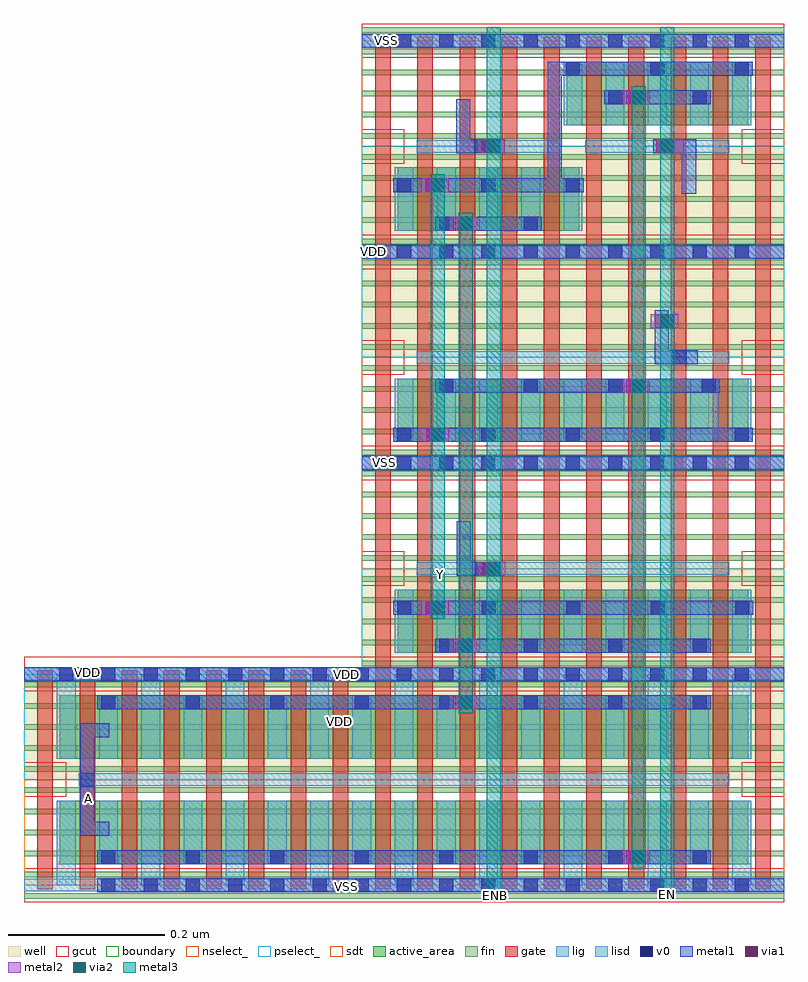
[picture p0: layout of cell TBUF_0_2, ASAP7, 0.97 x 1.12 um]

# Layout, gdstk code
import gdstk
lib = gdstk.Library(unit=1e-6, precision=2.5e-10)
def R(c, l, rs):  # rectangles x0, y0, x1, y1
    for r in rs: c.add(gdstk.rectangle(r[:2], r[2:], *l))
def A(c, l, x, y, w, h, nx, ny, dx, dy):  # array of equal rectangles
    R(c, l, [(x+i*dx, y+j*dy, x+i*dx+w, y+j*dy+h) for i in range(nx) for j in range(ny)])
well = (1, 0)
fin = (2, 0)
gate = (7, 0)
gcut = (10, 0)
active_area = (11, 0)
nselect_ = (12, 0)
pselect_ = (13, 0)
lig = (16, 0)
lisd = (17, 0)
v0 = (18, 0)
metal1 = (19, 0)
metal2 = (20, 0)
via1 = (21, 0)
via2 = (25, 0)
metal3 = (30, 0)
sdt = (88, 0)
boundary = (100, 0)

tbuf_0_2 = lib.new_cell('TBUF_0_2')
R(tbuf_0_2, well, [(0,0.157,0.972,0.292), (0.432,0.292,0.972,0.427), (0.432,0.697,0.972,0.832), (0.432,0.832,0.972,0.967)])
A(tbuf_0_2, fin, 0, 0.005, 0.972, 0.007, 1, 11, 0, 0.027)
A(tbuf_0_2, fin, 0.432, 0.302, 0.54, 0.007, 1, 31, 0, 0.027)
A(tbuf_0_2, gate, 0.017, 0.017, 0.02, 0.28, 18, 1, 0.054, 0)
A(tbuf_0_2, gate, 0.449, 0.287, 0.02, 0.28, 10, 3, 0.054, 0.27)
A(tbuf_0_2, gcut, 0.918, 0.135, 0.054, 0.044, 1, 4, 0, 0.27)
A(tbuf_0_2, gcut, 0.432, 0.405, 0.054, 0.044, 1, 3, 0, 0.27)
R(tbuf_0_2, gcut, [(0,0,0.972,0.044), (0,0.135,0.054,0.179), (0,0.27,0.972,0.314), (0.432,0.27,0.972,0.314), (0.432,0.54,0.972,0.584), (0.432,0.54,0.972,0.584), (0.432,0.81,0.972,0.854), (0.432,0.81,0.972,0.854), (0.432,1.08,0.972,1.124)])
R(tbuf_0_2, active_area, [(0.046,0.049,0.926,0.13), (0.046,0.184,0.926,0.265), (0.478,0.319,0.926,0.4), (0.478,0.589,0.926,0.67), (0.478,0.859,0.71,0.94), (0.694,0.994,0.926,1.075)])
R(tbuf_0_2, nselect_, [(0,0.022,0.972,0.157), (0.432,0.427,0.972,0.562), (0.432,0.562,0.972,0.697), (0.432,0.967,0.972,1.102)])
R(tbuf_0_2, pselect_, [(0,0.157,0.972,0.292), (0.432,0.292,0.972,0.427), (0.432,0.697,0.972,0.832), (0.432,0.832,0.972,0.967)])
R(tbuf_0_2, lig, [(0,0.014,0.972,0.03), (0.07,0.149,0.902,0.165), (0,0.284,0.972,0.3), (0.432,0.284,0.972,0.3), (0.502,0.419,0.902,0.435), (0.432,0.554,0.972,0.57), (0.432,0.554,0.972,0.57), (0.502,0.689,0.902,0.705), (0.432,0.824,0.972,0.84), (0.432,0.824,0.972,0.84), (0.502,0.959,0.686,0.975), (0.718,0.959,0.902,0.975), (0.432,1.094,0.972,1.11)])
A(tbuf_0_2, lisd, 0.042, 0.022, 0.024, 0.108, 9, 2, 0.108, 0.162)
A(tbuf_0_2, lisd, 0.096, 0.049, 0.024, 0.081, 7, 2, 0.108, 0.135)
A(tbuf_0_2, lisd, 0.744, 0.184, 0.024, 0.081, 1, 3, 0, 0.405)
A(tbuf_0_2, lisd, 0.474, 0.319, 0.024, 0.081, 6, 2, 0.054, 0.27)
A(tbuf_0_2, lisd, 0.744, 0.319, 0.024, 0.081, 4, 2, 0.054, 0.675)
A(tbuf_0_2, lisd, 0.474, 0.859, 0.024, 0.081, 5, 1, 0.054, 0)
R(tbuf_0_2, lisd, [(0.744,0.049,0.768,0.13), (0.852,0.049,0.876,0.13), (0.852,0.184,0.876,0.265), (0.798,0.589,0.822,0.67), (0.852,0.589,0.888,0.67), (0.906,0.589,0.93,0.67), (0.69,0.994,0.714,1.075)])
A(tbuf_0_2, v0, 0.099, 0.013, 0.018, 0.018, 16, 1, 0.054, 0)
A(tbuf_0_2, v0, 0.099, 0.049, 0.018, 0.018, 8, 2, 0.108, 0.198)
A(tbuf_0_2, v0, 0.045, 0.283, 0.018, 0.018, 9, 1, 0.054, 0)
A(tbuf_0_2, v0, 0.909, 0.283, 0.018, 0.018, 1, 3, 0, 0.27)
A(tbuf_0_2, v0, 0.531, 0.319, 0.018, 0.018, 4, 1, 0.108, 0)
A(tbuf_0_2, v0, 0.4775, 0.368, 0.018, 0.018, 5, 1, 0.108, 0)
A(tbuf_0_2, v0, 0.477, 0.589, 0.018, 0.018, 5, 1, 0.108, 0)
A(tbuf_0_2, v0, 0.531, 0.652, 0.018, 0.018, 3, 1, 0.108, 0)
A(tbuf_0_2, v0, 0.477, 0.908, 0.018, 0.018, 3, 1, 0.108, 0)
A(tbuf_0_2, v0, 0.693, 1.057, 0.018, 0.018, 3, 1, 0.108, 0)
A(tbuf_0_2, v0, 0.477, 1.093, 0.018, 0.018, 9, 1, 0.054, 0)
R(tbuf_0_2, v0, [(0.072,0.148,0.09,0.166), (0.477,0.283,0.495,0.301), (0.531,0.283,0.549,0.301), (0.531,0.283,0.549,0.301), (0.585,0.283,0.603,0.301), (0.585,0.283,0.603,0.301), (0.639,0.283,0.657,0.301), (0.639,0.283,0.657,0.301), (0.693,0.283,0.711,0.301), (0.693,0.283,0.711,0.301), (0.747,0.283,0.765,0.301), (0.747,0.283,0.765,0.301), (0.801,0.283,0.819,0.301), (0.801,0.283,0.819,0.301), (0.855,0.283,0.873,0.301), (0.855,0.283,0.873,0.301), (0.5765,0.418,0.5945,0.436), (0.477,0.553,0.495,0.571), (0.477,0.553,0.495,0.571), (0.531,0.553,0.549,0.571), (0.531,0.553,0.549,0.571), (0.585,0.553,0.603,0.571), (0.585,0.553,0.603,0.571), (0.639,0.553,0.657,0.571), (0.639,0.553,0.657,0.571), (0.693,0.553,0.711,0.571), (0.693,0.553,0.711,0.571), (0.747,0.553,0.765,0.571), (0.747,0.553,0.765,0.571), (0.801,0.553,0.819,0.571), (0.801,0.553,0.819,0.571), (0.855,0.553,0.873,0.571), (0.855,0.553,0.873,0.571), (0.867,0.652,0.885,0.67), (0.8295,0.688,0.8475,0.706), (0.477,0.823,0.495,0.841), (0.477,0.823,0.495,0.841), (0.531,0.823,0.549,0.841), (0.531,0.823,0.549,0.841), (0.585,0.823,0.603,0.841), (0.585,0.823,0.603,0.841), (0.639,0.823,0.657,0.841), (0.639,0.823,0.657,0.841), (0.693,0.823,0.711,0.841), (0.693,0.823,0.711,0.841), (0.747,0.823,0.765,0.841), (0.747,0.823,0.765,0.841), (0.801,0.823,0.819,0.841), (0.801,0.823,0.819,0.841), (0.855,0.823,0.873,0.841), (0.855,0.823,0.873,0.841), (0.531,0.859,0.549,0.877), (0.639,0.859,0.657,0.877), (0.576,0.958,0.594,0.976), (0.8095,0.958,0.8275,0.976), (0.747,1.021,0.765,1.039), (0.855,1.021,0.873,1.039)])
R(tbuf_0_2, metal1, [(0.094,0.013,0.972,0.031), (0.094,0.049,0.878,0.067), (0.072,0.085,0.109,0.103), (0.072,0.085,0.09,0.229), (0.072,0.211,0.109,0.229), (0.094,0.247,0.878,0.265), (0,0.283,0.972,0.301), (0.432,0.283,0.972,0.301), (0.526,0.319,0.878,0.337), (0.4725,0.368,0.9325,0.386), (0.5535,0.418,0.5715,0.4875), (0.5715,0.418,0.6085,0.436), (0.432,0.553,0.972,0.571), (0.432,0.553,0.972,0.571), (0.472,0.589,0.932,0.607), (0.526,0.652,0.89,0.67), (0.8065,0.688,0.8245,0.7575), (0.8245,0.688,0.8615,0.706), (0.432,0.823,0.972,0.841), (0.432,0.823,0.972,0.841), (0.526,0.859,0.662,0.877), (0.8415,0.9065,0.8595,0.976), (0.472,0.908,0.716,0.926), (0.67,0.913,0.688,1.075), (0.553,0.958,0.571,1.0275), (0.571,0.958,0.608,0.976), (0.8045,0.958,0.8415,0.976), (0.742,1.021,0.878,1.039), (0.688,1.057,0.932,1.075), (0.432,1.093,0.972,1.111)])
R(tbuf_0_2, metal2, [(0.7655,0.049,0.8005,0.067), (0.544,0.247,0.579,0.265), (0.544,0.319,0.579,0.337), (0.508,0.368,0.543,0.386), (0.5805,0.418,0.6155,0.436), (0.5085,0.589,0.5435,0.607), (0.7655,0.652,0.8005,0.67), (0.8015,0.7345,0.8365,0.7525), (0.544,0.859,0.579,0.877), (0.508,0.908,0.543,0.926), (0.58,0.958,0.615,0.976), (0.8085,0.958,0.8435,0.976), (0.7655,1.021,0.8005,1.039)])
R(tbuf_0_2, via1, [(0.7705,0.049,0.7885,0.067), (0.549,0.247,0.567,0.265), (0.549,0.319,0.567,0.337), (0.513,0.368,0.531,0.386), (0.5855,0.418,0.6035,0.436), (0.5135,0.589,0.5315,0.607), (0.7705,0.652,0.7885,0.67), (0.8065,0.7345,0.8245,0.7525), (0.549,0.859,0.567,0.877), (0.513,0.908,0.531,0.926), (0.585,0.958,0.603,0.976), (0.8135,0.958,0.8315,0.976), (0.7705,1.021,0.7885,1.039)])
R(tbuf_0_2, via2, [(0.7775,0.049,0.7955,0.067), (0.556,0.247,0.574,0.265), (0.556,0.319,0.574,0.337), (0.52,0.368,0.538,0.386), (0.592,0.418,0.61,0.436), (0.52,0.589,0.538,0.607), (0.7775,0.652,0.7955,0.67), (0.8135,0.7345,0.8315,0.7525), (0.556,0.859,0.574,0.877), (0.52,0.908,0.538,0.926), (0.592,0.958,0.61,0.976), (0.8135,0.958,0.8315,0.976), (0.7775,1.021,0.7955,1.039)])
R(tbuf_0_2, metal3, [(0.592,0.005,0.61,1.119), (0.8135,0.005,0.8315,1.119), (0.7775,0.044,0.7955,1.044), (0.556,0.242,0.574,0.882), (0.52,0.363,0.538,0.931)])
A(tbuf_0_2, sdt, 0.042, 0.049, 0.024, 0.081, 14, 2, 0.054, 0.135)
A(tbuf_0_2, sdt, 0.744, 0.049, 0.024, 0.081, 4, 3, 0.054, 0.135)
A(tbuf_0_2, sdt, 0.474, 0.319, 0.024, 0.081, 6, 2, 0.054, 0.27)
A(tbuf_0_2, sdt, 0.744, 0.589, 0.024, 0.081, 4, 2, 0.054, 0.405)
A(tbuf_0_2, sdt, 0.474, 0.859, 0.024, 0.081, 5, 1, 0.054, 0)
R(tbuf_0_2, sdt, [(0.69,0.994,0.714,1.075), (0.744,0.994,0.768,1.075)])
A(tbuf_0_2, boundary, 0.432, 0.292, 0.54, 0.27, 1, 3, 0, 0.27)
R(tbuf_0_2, boundary, [(0,0.022,0.972,0.292)])
tbuf_0_2.add(gdstk.Label('VSS', (0.4635,1.102), layer=19, texttype=251))
tbuf_0_2.add(gdstk.Label('VDD', (0.447,0.833), layer=19, texttype=251))
tbuf_0_2.add(gdstk.Label('VSS', (0.4615,0.562), layer=19, texttype=251))
tbuf_0_2.add(gdstk.Label('VDD', (0.412,0.291), layer=19, texttype=251))
tbuf_0_2.add(gdstk.Label('A', (0.0825,0.133), layer=19, texttype=251))
tbuf_0_2.add(gdstk.Label('VDD', (0.081,0.294), layer=19, texttype=251))
tbuf_0_2.add(gdstk.Label('VSS', (0.412,0.02), layer=19, texttype=251))
tbuf_0_2.add(gdstk.Label('VDD', (0.403,0.232), layer=1, texttype=251))
tbuf_0_2.add(gdstk.Label('ENB', (0.6025,0.009), layer=30, texttype=251))
tbuf_0_2.add(gdstk.Label('Y', (0.5325,0.42), layer=30, texttype=251))
tbuf_0_2.add(gdstk.Label('EN', (0.823,0.0095), layer=30, texttype=251))

lib.write_gds('TBUF_0_2.gds')
